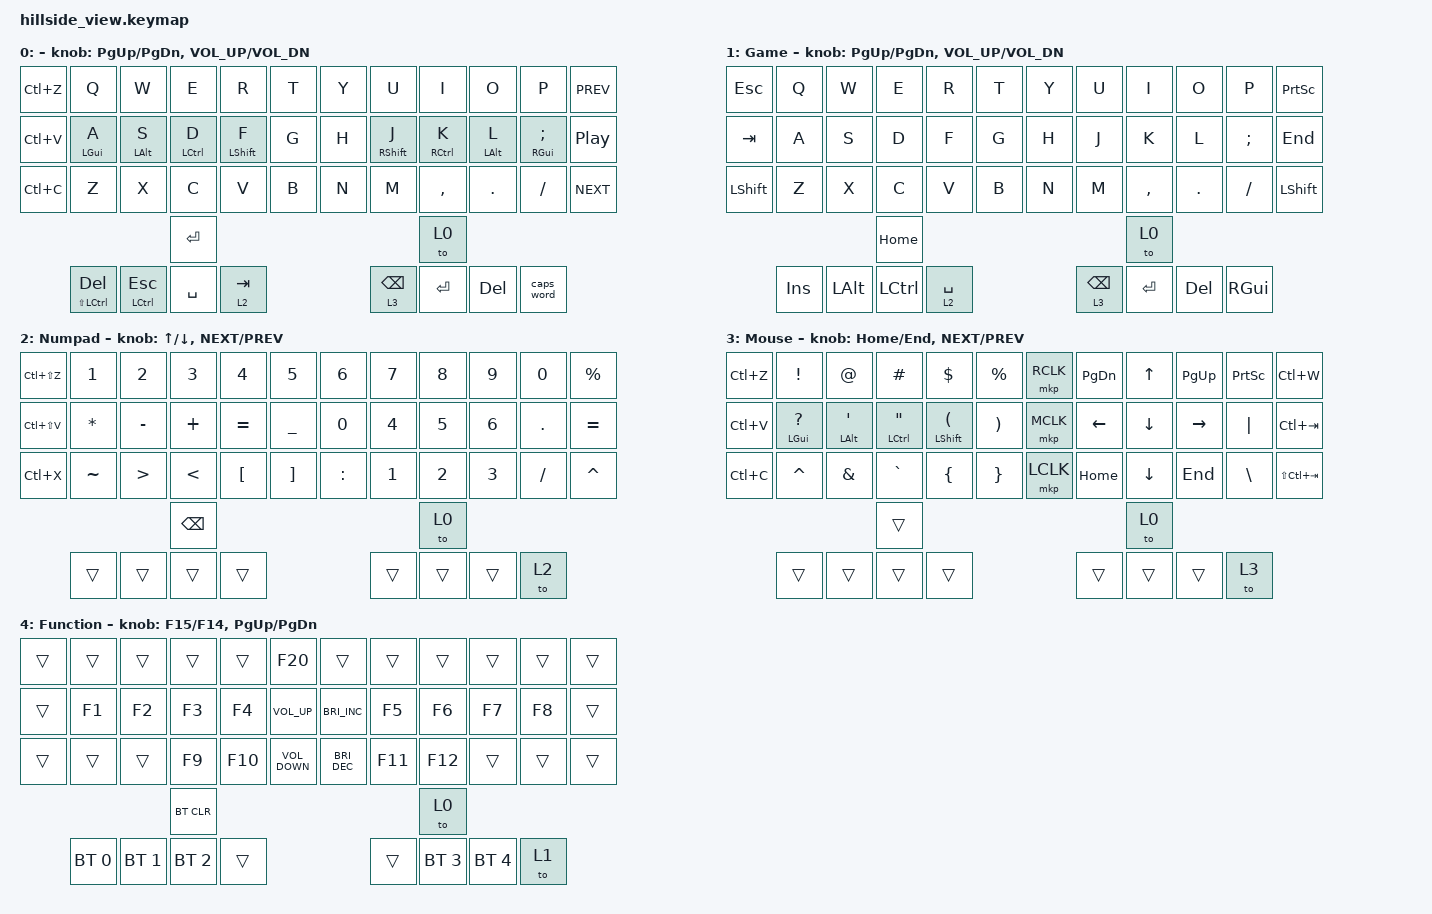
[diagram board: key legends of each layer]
#include <behaviors.dtsi>
#include <dt-bindings/zmk/bt.h>
#include <dt-bindings/zmk/keys.h>
#include <dt-bindings/zmk/pointing.h>

/ {
    conditional_layers {
        compatible = "zmk,conditional-layers";

        tri_layer {
            if-layers = <2 3>;
            then-layer = <4>;
        };
    };

    behaviors {
        ht: hold_tap {
            compatible = "zmk,behavior-hold-tap";
            #binding-cells = <2>;
            tapping-term-ms = <280>;
            quick-tap-ms = <185>;
            flavor = "tap-preferred";
            bindings = <&kp>, <&kp>;
        };

        htbl: hold_tap_balanced_left {
            compatible = "zmk,behavior-hold-tap";
            bindings = <&kp>, <&kp>;

            #binding-cells = <2>;
            tapping-term-ms = <176>;
            quick-tap-ms = <175>;
            flavor = "balanced";
            // Checked on press: right hand, right thumbs, left mods S/D and left thumbs; never same-hand letters.
            hold-trigger-key-positions = <6 7 8 9 10 18 19 20 21 22 30 31 32 33 34 42 43 14 15 38 39 41>;
            require-prior-idle-ms = <80>;
        };

        htbr: hold_tap_balanced_right {
            compatible = "zmk,behavior-hold-tap";
            bindings = <&kp>, <&kp>;

            #binding-cells = <2>;
            tapping-term-ms = <170>;
            quick-tap-ms = <175>;
            flavor = "balanced";
            // Checked on press: left hand, left thumbs, right mods K/L/; ; never same-hand letters.
            hold-trigger-key-positions = <1 2 3 4 5 13 14 15 16 17 25 26 27 28 29 40 41 20 21 22 38 39>;
            require-prior-idle-ms = <88>;
        };

        lbtl: layer_balanced_toggle_left {
            compatible = "zmk,behavior-hold-tap";
            bindings = <&mo>, <&kp>;

            #binding-cells = <2>;
            tapping-term-ms = <182>;
            quick-tap-ms = <175>;
            flavor = "balanced";
        };

        lbtr: layer_balanced_toggle_Right {
            compatible = "zmk,behavior-hold-tap";
            bindings = <&mo>, <&kp>;

            #binding-cells = <2>;
            tapping-term-ms = <182>;
            quick-tap-ms = <180>;
            flavor = "balanced";
        };

        tplt: tap_preferred_layer_toggle {
            compatible = "zmk,behavior-hold-tap";
            bindings = <&mo>, <&kp>;

            #binding-cells = <2>;
            flavor = "tap-preferred";
            quick-tap-ms = <200>;
            tapping-term-ms = <300>;
            hold-trigger-key-positions = <18 31 19 7 8 20 32 33 21 9>;
            require-prior-idle-ms = <100>;
        };
    };

    keymap {
        compatible = "zmk,keymap";

        default_layer {
            display-name = " ";
            bindings = <
&kp LC(Z)  &kp Q                 &kp W             &kp E        &kp R               &kp T      &kp Y  &kp U                &kp I        &kp O           &kp P               &kp C_PREV
&kp LC(V)  &ht LGUI A            &ht LEFT_ALT S    &ht LCTRL D  &htbl LEFT_SHIFT F  &kp G      &kp H  &htbr RIGHT_SHIFT J  &ht RCTRL K  &ht LEFT_ALT L  &ht RGUI SEMICOLON  &kp C_PLAY_PAUSE
&kp LC(C)  &kp Z                 &kp X             &kp C        &kp V               &kp B      &kp N  &kp M                &kp COMMA    &kp DOT         &kp FSLH            &kp C_NEXT
                                                   &kp ENTER                                                               &to 0
           &mt LS(LCTRL) DELETE  &mt LCTRL ESCAPE  &kp SPACE    &lbtl 2 TAB                           &lbtr 3 BACKSPACE    &kp ENTER    &kp DELETE      &caps_word
            >;

            sensor-bindings = <&inc_dec_kp PG_UP PG_DN &inc_dec_kp C_VOL_UP C_VOL_DN>;
        };

        game_layer {
            display-name = "Game";
            bindings = <
&kp ESC         &kp Q       &kp W     &kp E      &kp R          &kp T      &kp Y  &kp U              &kp I      &kp O       &kp P          &kp PRINTSCREEN
&kp TAB         &kp A       &kp S     &kp D      &kp F          &kp G      &kp H  &kp J              &kp K      &kp L       &kp SEMICOLON  &kp END
&kp LEFT_SHIFT  &kp Z       &kp X     &kp C      &kp V          &kp B      &kp N  &kp M              &kp COMMA  &kp DOT     &kp FSLH       &kp LEFT_SHIFT
                                      &kp HOME                                                       &to 0
                &kp INSERT  &kp LALT  &kp LCTRL  &tplt 2 SPACE                    &lbtr 3 BACKSPACE  &kp ENTER  &kp DELETE  &kp RGUI
            >;

            sensor-bindings =
                <&inc_dec_kp PG_UP PG_DN>,
                <&inc_dec_kp C_VOL_UP C_VOL_DN>;
        };

        left_layer {
            display-name = "Numpad";
            bindings = <
&kp LC(LS(Z))  &kp NUMBER_1  &kp NUMBER_2      &kp NUMBER_3   &kp NUMBER_4      &kp N5                 &kp NUMBER_6  &kp NUMBER_7  &kp NUMBER_8  &kp NUMBER_9  &kp NUMBER_0  &kp PERCENT
&kp LC(LS(V))  &kp ASTERISK  &kp MINUS         &kp PLUS       &kp EQUAL         &kp UNDERSCORE         &kp NUMBER_0  &kp NUMBER_4  &kp N5        &kp NUMBER_6  &kp PERIOD    &kp EQUAL
&kp LC(X)      &kp TILDE     &kp GREATER_THAN  &kp LESS_THAN  &kp LEFT_BRACKET  &kp RIGHT_BRACKET      &kp COLON     &kp NUMBER_1  &kp NUMBER_2  &kp NUMBER_3  &kp SLASH     &kp CARET
                                               &kp BACKSPACE                                                                       &to 0
               &trans        &trans            &trans         &trans                                                 &trans        &trans        &trans        &to 2
            >;

            sensor-bindings = <&inc_dec_kp UP DOWN &inc_dec_kp C_NEXT C_PREV>;
        };

        right_layer {
            display-name = "Mouse";
            bindings = <
&kp LC(Z)  &kp EXCLAMATION        &kp AT_SIGN       &kp HASH                 &kp DOLLAR                       &kp PERCENT                &mkp RCLK  &kp PG_DN  &kp UP_ARROW    &kp PG_UP  &kp PRINTSCREEN  &kp LC(W)
&kp LC(V)  &ht LEFT_GUI QUESTION  &ht LEFT_ALT SQT  &ht LCTRL DOUBLE_QUOTES  &ht LEFT_SHIFT LEFT_PARENTHESIS  &kp RIGHT_PARENTHESIS      &mkp MCLK  &kp LEFT   &kp DOWN_ARROW  &kp RIGHT  &kp PIPE         &kp LC(TAB)
&kp LC(C)  &kp CARET              &kp AMPERSAND     &kp GRAVE                &kp LEFT_BRACE                   &kp RIGHT_BRACE            &mkp LCLK  &kp HOME   &kp DOWN        &kp END    &kp BACKSLASH    &kp LS(LC(TAB))
                                                    &trans                                                                                                     &to 0
           &trans                 &trans            &trans                   &trans                                                                 &trans     &trans          &trans     &to 3
            >;

            sensor-bindings = <&inc_dec_kp HOME END &inc_dec_kp C_NEXT C_PREV>;
        };

        func_layer {
            display-name = "Function";
            bindings = <
&trans  &trans        &trans        &trans        &trans   &kp F20                &trans                &trans   &trans        &trans        &trans  &trans
&trans  &kp F1        &kp F2        &kp F3        &kp F4   &kp C_VOLUME_UP        &kp C_BRIGHTNESS_INC  &kp F5   &kp F6        &kp F7        &kp F8  &trans
&trans  &trans        &trans        &kp F9        &kp F10  &kp C_VOLUME_DOWN      &kp C_BRIGHTNESS_DEC  &kp F11  &kp F12       &trans        &trans  &trans
                                    &bt BT_CLR                                                                   &to 0
        &bt BT_SEL 0  &bt BT_SEL 1  &bt BT_SEL 2  &trans                                                &trans   &bt BT_SEL 3  &bt BT_SEL 4  &to 1
            >;

            // F15 and F14 are brightness controls for macOS

            sensor-bindings = <&inc_dec_kp F15 F14 &inc_dec_kp PG_UP PG_DN>;
        };
    };
};
